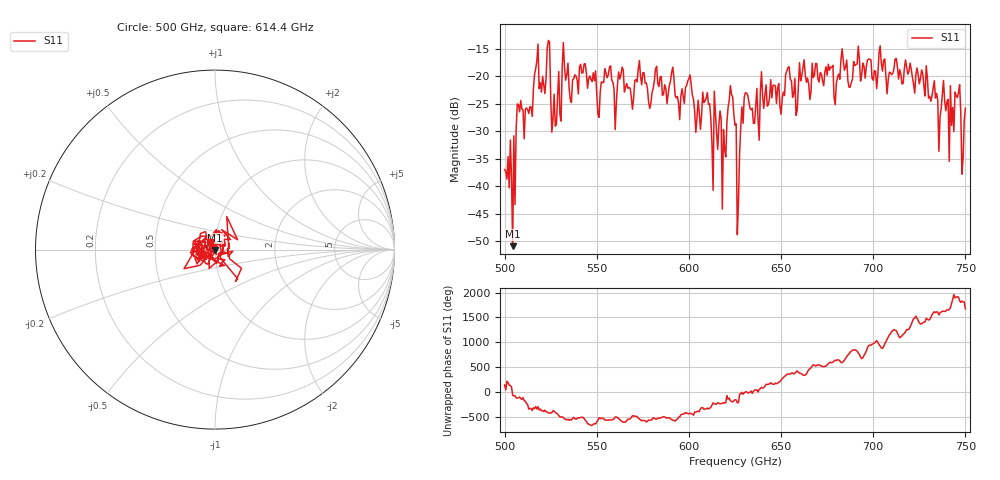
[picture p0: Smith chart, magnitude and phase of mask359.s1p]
!Created with skrf (http://scikit-rf.org).
# GHz S MA R 50.0
!freq magS11 angS11
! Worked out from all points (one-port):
!   401 points, 500 GHz to 750 GHz, reference 50 ohm
!   lowest |S11| = -50.9 dB at 504.4 GHz (marker M1), VSWR 1.01, Z = 50.1 - j0.244 ohm
!   |S11| at or under -10 dB: start of sweep to end of sweep
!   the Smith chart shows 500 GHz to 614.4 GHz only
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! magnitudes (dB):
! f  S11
! 500 GHz  -37.0
! 504.4 GHz  -50.9
! 507.5 GHz  -25.2
! 513.8 GHz  -25.6
! 516.9 GHz  -18.6
! 520.6 GHz  -20.0
! 523.8 GHz  -13.5
! 526.9 GHz  -23.3
! 531.2 GHz  -18.3
! 542.5 GHz  -19.4
! 551.2 GHz  -27.5
! 562.5 GHz  -20.5
! 578.8 GHz  -25.9
! 590.6 GHz  -19.3
! 593.8 GHz  -23.7
! 608.8 GHz  -24.5
! 619.4 GHz  -33.4
! 622.5 GHz  -21.7
! 625 GHz  -28.9
! 626.9 GHz  -43.1
! 631.2 GHz  -23.1
! 636.9 GHz  -22.2
! 656.2 GHz  -23.9
! 680 GHz  -21.3
! 683.8 GHz  -17.3
! 687.5 GHz  -22.0
! 718.8 GHz  -19.7
! 750 GHz  -25.9
